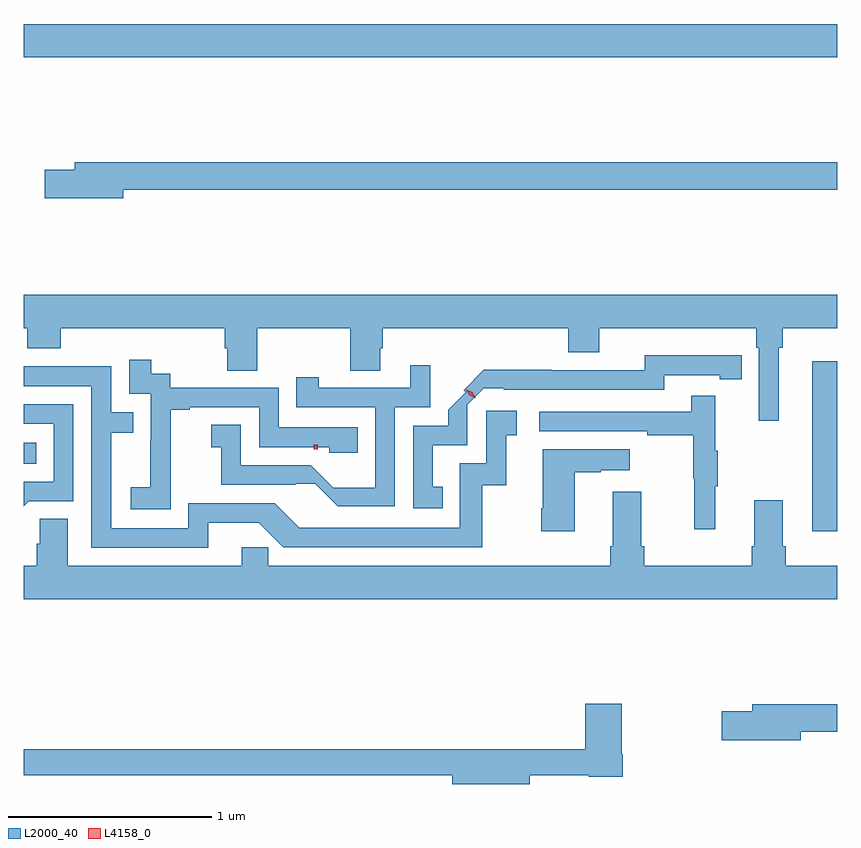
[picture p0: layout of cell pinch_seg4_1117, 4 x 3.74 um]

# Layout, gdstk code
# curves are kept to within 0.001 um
import gdstk
lib = gdstk.Library(unit=1e-6, precision=1e-09)
def R(c, l, rs):  # rectangles x0, y0, x1, y1
    for r in rs: c.add(gdstk.rectangle(r[:2], r[2:], *l))
def P(c, l, *ps):  # polygons
    for p in ps: c.add(gdstk.Polygon(p, *l))
L2000_40 = (2000, 40)
L4158_0 = (4158, 0)

pinch_seg4_1117 = lib.new_cell('pinch_seg4_1117')
R(pinch_seg4_1117, L2000_40, [(518.318,801.15,518.44,801.985), (514.44,801.482,514.502,801.586), (514.44,803.48,518.44,803.644)])
P(pinch_seg4_1117, L2000_40, [(514.93,802.828),(518.44,802.828),(518.44,802.964),(514.691,802.964),(514.691,802.928),(514.542,802.928),(514.542,802.786),(514.93,802.786)],
  [(518.152,802.052),(518.171,802.052),(518.171,802.148),(518.44,802.148),(518.44,802.312),(514.44,802.312),(514.44,802.148),(514.457,802.148),(514.457,802.049),(514.621,802.049),(514.621,802.148),(515.429,802.148),(515.429,802.05),(515.441,802.05),(515.441,801.94),(515.589,801.94),(515.589,802.148),(516.046,802.148),(516.046,801.94),(516.193,801.94),(516.193,802.05),(516.206,802.05),(516.206,802.148),(517.118,802.148),(517.118,802.031),(517.27,802.031),(517.27,802.148),(518.042,802.148),(518.042,802.052),(518.055,802.052),(518.055,801.693),(518.152,801.693)],
  [(516.5,801.369),(516.451,801.369),(516.451,801.573),(516.621,801.573),(516.621,801.771),(516.702,801.852),(516.799,801.852),(516.799,801.846),(517.59,801.846),(517.59,801.918),(517.862,801.918),(517.862,801.898),(517.97,801.898),(517.97,802.014),(517.494,802.015),(517.494,801.942),(517.034,801.942),(517.034,801.944),(516.703,801.944),(516.603,801.843),(516.613,801.833),(516.528,801.748),(516.528,801.669),(516.354,801.669),(516.354,801.264),(516.5,801.264)],
  [(515.163,801.463),(515.162,801.463),(515.162,801.747),(515.257,801.747),(515.257,801.759),(515.598,801.759),(515.598,801.564),(515.943,801.564),(515.943,801.537),(516.083,801.537),(516.083,801.66),(515.694,801.66),(515.694,801.855),(515.16,801.855),(515.16,801.924),(515.068,801.924),(515.068,801.994),(514.959,801.994),(514.959,801.825),(515.064,801.825),(515.064,801.596),(515.063,801.596),(515.063,801.367),(514.965,801.367),(514.965,801.257),(515.163,801.257)],
  [(516.264,801.759),(516.438,801.759),(516.438,801.967),(516.341,801.967),(516.341,801.855),(515.89,801.855),(515.89,801.907),(515.779,801.907),(515.779,801.759),(516.168,801.759),(516.168,801.363),(515.961,801.363),(515.85,801.474),(515.508,801.474),(515.508,801.673),(515.361,801.673),(515.361,801.563),(515.41,801.563),(515.41,801.378),(515.777,801.378),(515.777,801.384),(515.874,801.384),(515.985,801.273),(516.264,801.273)],
  [(515.347,801.192),(515.596,801.192),(515.716,801.072),(516.694,801.072),(516.694,801.375),(516.812,801.375),(516.812,801.621),(516.865,801.621),(516.865,801.742),(516.714,801.742),(516.714,801.483),(516.585,801.483),(516.585,801.168),(515.795,801.168),(515.675,801.288),(515.25,801.288),(515.25,801.165),(514.869,801.165),(514.869,801.634),(514.979,801.634),(514.979,801.735),(514.869,801.735),(514.869,801.96),(514.44,801.96),(514.44,801.864),(514.773,801.864),(514.773,801.069),(515.347,801.069)],
  [(517.841,801.371),(517.852,801.371),(517.852,801.545),(517.841,801.545),(517.841,801.817),(517.723,801.817),(517.723,801.738),(516.975,801.738),(516.975,801.642),(517.507,801.642),(517.507,801.622),(517.731,801.622),(517.731,801.408),(517.738,801.408),(517.738,801.159),(517.841,801.159)],
  [(514.464,801.297),(514.683,801.297),(514.683,801.774),(514.44,801.774),(514.44,801.678),(514.587,801.678),(514.587,801.393),(514.44,801.393),(514.44,801.273)],
  [(517.15,801.439),(517.277,801.439),(517.277,801.449),(517.42,801.449),(517.42,801.553),(516.992,801.553),(516.992,801.262),(516.985,801.262),(516.985,801.15),(517.15,801.15)],
  [(518.44,800.98),(518.186,800.98),(518.186,801.076),(518.173,801.076),(518.173,801.301),(518.033,801.301),(518.033,801.076),(518.02,801.076),(518.02,800.98),(517.49,800.98),(517.49,801.076),(517.477,801.076),(517.477,801.343),(517.337,801.343),(517.337,801.076),(517.325,801.076),(517.325,800.98),(515.643,800.98),(515.643,801.072),(515.513,801.072),(515.513,800.98),(514.657,800.98),(514.657,801.212),(514.518,801.212),(514.518,801.089),(514.505,801.089),(514.505,800.98),(514.44,800.98),(514.44,800.816),(518.44,800.816)],
  [(516.928,799.95),(517.218,799.95),(517.218,799.942),(517.385,799.942),(517.385,800.053),(517.38,800.053),(517.38,800.302),(517.202,800.302),(517.202,800.078),(514.44,800.078),(514.44,799.95),(516.548,799.95),(516.548,799.907),(516.928,799.907)],
  [(518.26,800.164),(518.44,800.164),(518.44,800.3),(518.021,800.3),(518.021,800.264),(517.871,800.264),(517.871,800.122),(518.26,800.122)])
R(pinch_seg4_1117, L4158_0, [(515.866,801.554,515.886,801.574)])
P(pinch_seg4_1117, L4158_0, [(516.662,801.804),(516.632,801.818),(516.614,801.847),(516.614,801.847),(516.614,801.847),(516.645,801.833),(516.662,801.804),(516.662,801.804)])

lib.write_gds('pinch_seg4_1117.gds')
